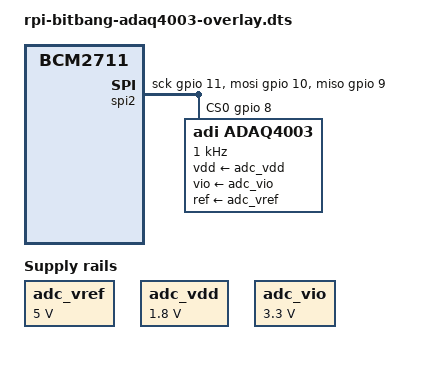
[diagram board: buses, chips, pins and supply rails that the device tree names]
// SPDX-License-Identifier: GPL-2.0-only
// Definitions for Analog Devices ADAQ4003 ADC
/dts-v1/;
/plugin/;

/ {
	compatible = "brcm,bcm2835", "brcm,bcm2711";
};

&{/} {
	adc_vref: regulator-vref {
		compatible = "regulator-fixed";
		regulator-name = "EVAL 5V Vref";
		regulator-min-microvolt = <5000000>;
		regulator-max-microvolt = <5000000>;
		regulator-always-on;
	};

	adc_vdd: regulator-vdd {
		compatible = "regulator-fixed";
		regulator-name = "Eval VDD supply";
		regulator-min-microvolt = <1800000>;
		regulator-max-microvolt = <1800000>;
		regulator-always-on;
	};

	adc_vio: regulator-vio {
		compatible = "regulator-fixed";
		regulator-name = "Eval VIO supply";
		regulator-min-microvolt = <3300000>;
		regulator-max-microvolt = <3300000>;
		regulator-always-on;
	};
};

&spi0 {
	status = "disabled";
};

&spidev0 {
	status = "disabled";
};

&spidev1 {
	status = "disabled";
};

&{/} {
	spi2 {
		compatible = "spi-gpio";
		#address-cells = <0x1>;
		#size-cells = <0x0>;

		sck-gpios = <&gpio 11 0>;
		miso-gpios = <&gpio 9 0>;
		mosi-gpios = <&gpio 10 0>;
		cs-gpios = <&gpio 8 0>;
		num-chipselects = <1>;

		status = "okay";

		adaq4003@0 {
			compatible = "adi,adaq4003";
			reg = <0>;
			//spi-max-frequency = <80000000>; //doesn't work
			//spi-max-frequency = <80000>; //sclk doesn't look good
			//spi-max-frequency = <10000>; //sclk looks good
			spi-max-frequency = <1000>; //sclk always looks great
			spi-cpha;
			//adi,spi-mode = "single";
			vdd-supply = <&adc_vdd>;
			vio-supply = <&adc_vio>;
			ref-supply = <&adc_vref>;
			adi,high-z-input;
			adi,gain-milli = <454>;
		};
	};
};
